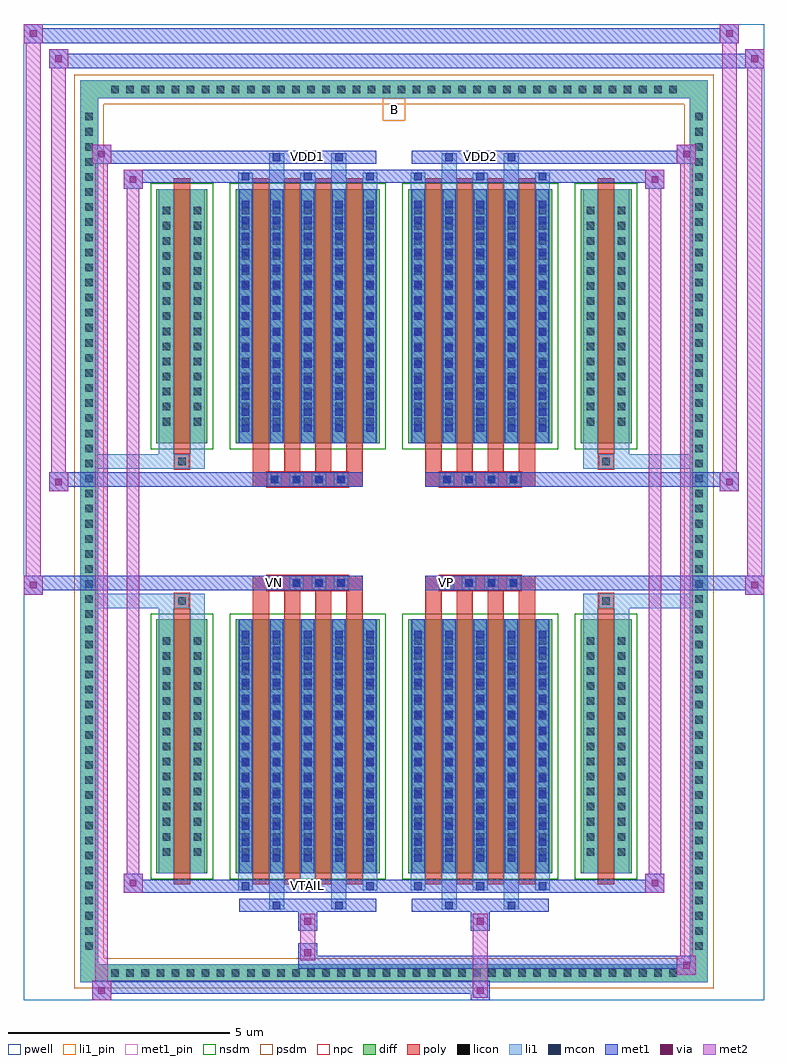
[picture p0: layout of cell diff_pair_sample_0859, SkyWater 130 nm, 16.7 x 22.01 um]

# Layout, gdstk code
import gdstk
lib = gdstk.Library(unit=1e-6, precision=5e-09)
def R(c, l, rs):  # rectangles x0, y0, x1, y1
    for r in rs: c.add(gdstk.rectangle(r[:2], r[2:], *l))
def A(c, l, x, y, w, h, nx, ny, dx, dy):  # array of equal rectangles
    R(c, l, [(x+i*dx, y+j*dy, x+i*dx+w, y+j*dy+h) for i in range(nx) for j in range(ny)])
def P(c, l, *ps):  # polygons
    for p in ps: c.add(gdstk.Polygon(p, *l))
pwell = (64, 44)
diff = (65, 20)
poly = (66, 20)
licon = (66, 44)
li1_pin = (67, 16)
li1 = (67, 20)
mcon = (67, 44)
met1_pin = (68, 16)
met1 = (68, 20)
via = (68, 44)
met2 = (69, 20)
nsdm = (93, 44)
psdm = (94, 20)
npc = (95, 20)

diff_pair_sample_0859 = lib.new_cell('diff_pair_sample_0859')
R(diff_pair_sample_0859, pwell, [(-8.35,-10.57,8.35,11.44), (-5.67,-8.76,-0.01,-0.8), (0.01,-8.76,5.67,-0.8), (-5.67,0.8,-0.01,8.76), (0.01,0.8,5.67,8.76)])
A(diff_pair_sample_0859, diff, -6.495, -10.17, 0.41, 0.41, 38, 2, 0.34, 19.93)
A(diff_pair_sample_0859, diff, -7.08, -9.555, 0.41, 0.41, 1, 56, 0, 0.34)
A(diff_pair_sample_0859, diff, 6.67, -9.555, 0.41, 0.41, 1, 56, 0, 0.34)
R(diff_pair_sample_0859, diff, [(-6.495,-10.17,6.495,-9.76), (-7.08,-9.555,-6.67,9.555), (6.67,-9.555,7.08,9.555), (-5.36,-7.715,-4.21,-1.985), (-3.57,-7.715,-0.32,-1.985), (0.32,-7.715,3.57,-1.985), (4.21,-7.715,5.36,-1.985), (-5.36,1.985,-4.21,7.715), (-3.57,1.985,-0.32,7.715), (0.32,1.985,3.57,7.715), (4.21,1.985,5.36,7.715), (-6.495,9.76,6.495,10.17)])
P(diff_pair_sample_0859, diff, [(7.08,10.17),(-7.08,10.17),(-7.08,-9.76),(-6.67,-9.76),(-6.67,9.76),(6.67,9.76),(6.67,-9.76),(-6.67,-9.76),(-7.08,-9.76),(-7.08,-10.17),(7.08,-10.17)])
A(diff_pair_sample_0859, poly, -3.18, -7.965, 0.37, 6.23, 4, 2, 0.7, 9.7)
A(diff_pair_sample_0859, poly, 0.71, -7.965, 0.37, 6.23, 4, 2, 0.7, 9.7)
A(diff_pair_sample_0859, poly, -3.18, -1.735, 0.37, 0.405, 4, 2, 0.7, 3.065)
A(diff_pair_sample_0859, poly, 0.71, -1.735, 0.37, 0.405, 4, 2, 0.7, 3.065)
A(diff_pair_sample_0859, poly, -2.86, -1.33, 0.33, 0.33, 4, 2, 0.5, 2.33)
A(diff_pair_sample_0859, poly, 1.03, -1.33, 0.33, 0.33, 4, 2, 0.5, 2.33)
R(diff_pair_sample_0859, poly, [(-4.97,-7.965,-4.6,-1.735), (4.6,-7.965,4.97,-1.735), (-4.95,-1.735,-4.62,-1.405), (-4.95,-1.735,-4.62,-1.405), (4.62,-1.735,4.95,-1.405), (4.62,-1.735,4.95,-1.405), (-3.18,-1.33,-0.71,-1), (0.71,-1.33,3.18,-1), (-3.18,1,-0.71,1.33), (0.71,1,3.18,1.33), (-4.95,1.405,-4.62,1.735), (-4.95,1.405,-4.62,1.735), (4.62,1.405,4.95,1.735), (4.62,1.405,4.95,1.735), (-4.97,1.735,-4.6,7.965), (4.6,1.735,4.97,7.965)])
A(diff_pair_sample_0859, licon, -6.375, -10.05, 0.17, 0.17, 38, 2, 0.34, 19.93)
A(diff_pair_sample_0859, licon, -6.96, -9.435, 0.17, 0.17, 1, 56, 0, 0.34)
A(diff_pair_sample_0859, licon, 6.79, -9.435, 0.17, 0.17, 1, 56, 0, 0.34)
A(diff_pair_sample_0859, licon, -5.22, -7.315, 0.17, 0.17, 1, 15, 0, 0.34)
A(diff_pair_sample_0859, licon, -4.52, -7.315, 0.17, 0.17, 1, 15, 0, 0.34)
A(diff_pair_sample_0859, licon, -3.43, -7.315, 0.17, 0.17, 5, 15, 0.7, 0.34)
A(diff_pair_sample_0859, licon, 0.46, -7.315, 0.17, 0.17, 5, 15, 0.7, 0.34)
A(diff_pair_sample_0859, licon, 4.35, -7.315, 0.17, 0.17, 1, 15, 0, 0.34)
A(diff_pair_sample_0859, licon, 5.05, -7.315, 0.17, 0.17, 1, 15, 0, 0.34)
A(diff_pair_sample_0859, licon, -2.78, -1.25, 0.17, 0.17, 4, 2, 0.5, 2.33)
A(diff_pair_sample_0859, licon, 1.11, -1.25, 0.17, 0.17, 4, 2, 0.5, 2.33)
A(diff_pair_sample_0859, licon, -5.22, 2.385, 0.17, 0.17, 1, 15, 0, 0.34)
A(diff_pair_sample_0859, licon, -4.52, 2.385, 0.17, 0.17, 1, 15, 0, 0.34)
A(diff_pair_sample_0859, licon, -3.43, 2.385, 0.17, 0.17, 5, 15, 0.7, 0.34)
A(diff_pair_sample_0859, licon, 0.46, 2.385, 0.17, 0.17, 5, 15, 0.7, 0.34)
A(diff_pair_sample_0859, licon, 4.35, 2.385, 0.17, 0.17, 1, 15, 0, 0.34)
A(diff_pair_sample_0859, licon, 5.05, 2.385, 0.17, 0.17, 1, 15, 0, 0.34)
R(diff_pair_sample_0859, licon, [(-4.87,-1.655,-4.7,-1.485), (4.7,-1.655,4.87,-1.485), (-4.87,1.485,-4.7,1.655), (4.7,1.485,4.87,1.655)])
R(diff_pair_sample_0859, li1_pin, [(-0.25,9.26,0.25,9.76)])
A(diff_pair_sample_0859, li1, -6.455, -10.13, 0.33, 0.33, 38, 2, 0.34, 19.93)
A(diff_pair_sample_0859, li1, -7.04, -9.515, 0.33, 0.33, 1, 56, 0, 0.34)
A(diff_pair_sample_0859, li1, 6.71, -9.515, 0.33, 0.33, 1, 56, 0, 0.34)
A(diff_pair_sample_0859, li1, -3.51, -8.09, 0.33, 0.375, 3, 2, 1.4, 15.805)
A(diff_pair_sample_0859, li1, -3.43, -8.09, 0.17, 0.17, 3, 2, 1.4, 16.01)
A(diff_pair_sample_0859, li1, 0.38, -8.09, 0.33, 0.375, 3, 2, 1.4, 15.805)
A(diff_pair_sample_0859, li1, 0.46, -8.09, 0.17, 0.17, 3, 2, 1.4, 16.01)
A(diff_pair_sample_0859, li1, -3.51, -7.715, 0.33, 5.73, 5, 2, 0.7, 9.7)
A(diff_pair_sample_0859, li1, 0.38, -7.715, 0.33, 5.73, 5, 2, 0.7, 9.7)
A(diff_pair_sample_0859, li1, -3.43, -7.455, 0.17, 0.17, 5, 15, 0.7, 0.36)
A(diff_pair_sample_0859, li1, -3.43, -7.455, 0.17, 5.21, 5, 2, 0.7, 9.7)
A(diff_pair_sample_0859, li1, 0.46, -7.455, 0.17, 0.17, 5, 15, 0.7, 0.36)
A(diff_pair_sample_0859, li1, 0.46, -7.455, 0.17, 5.21, 5, 2, 0.7, 9.7)
A(diff_pair_sample_0859, li1, -5.3, -7.395, 0.33, 0.33, 1, 15, 0, 0.34)
A(diff_pair_sample_0859, li1, -4.6, -7.395, 0.33, 0.33, 1, 15, 0, 0.34)
A(diff_pair_sample_0859, li1, -3.51, -7.395, 0.33, 0.33, 5, 15, 0.7, 0.34)
A(diff_pair_sample_0859, li1, 0.38, -7.395, 0.33, 0.33, 5, 15, 0.7, 0.34)
A(diff_pair_sample_0859, li1, 4.27, -7.395, 0.33, 0.33, 1, 15, 0, 0.34)
A(diff_pair_sample_0859, li1, 4.97, -7.395, 0.33, 0.33, 1, 15, 0, 0.34)
A(diff_pair_sample_0859, li1, -2.86, -1.33, 0.33, 0.33, 4, 2, 0.5, 2.33)
A(diff_pair_sample_0859, li1, 1.03, -1.33, 0.33, 0.33, 4, 2, 0.5, 2.33)
A(diff_pair_sample_0859, li1, -3.43, 2.245, 0.17, 0.17, 5, 15, 0.7, 0.36)
A(diff_pair_sample_0859, li1, 0.46, 2.245, 0.17, 0.17, 5, 15, 0.7, 0.36)
A(diff_pair_sample_0859, li1, -5.3, 2.305, 0.33, 0.33, 1, 15, 0, 0.34)
A(diff_pair_sample_0859, li1, -4.6, 2.305, 0.33, 0.33, 1, 15, 0, 0.34)
A(diff_pair_sample_0859, li1, -3.51, 2.305, 0.33, 0.33, 5, 15, 0.7, 0.34)
A(diff_pair_sample_0859, li1, 0.38, 2.305, 0.33, 0.33, 5, 15, 0.7, 0.34)
A(diff_pair_sample_0859, li1, 4.27, 2.305, 0.33, 0.33, 1, 15, 0, 0.34)
A(diff_pair_sample_0859, li1, 4.97, 2.305, 0.33, 0.33, 1, 15, 0, 0.34)
R(diff_pair_sample_0859, li1, [(-7.08,-10.17,-6.67,-9.76), (-7.08,-10.17,-6.67,-9.76), (-6.67,-10.17,6.67,-9.76), (6.67,-10.17,7.08,-9.76), (6.67,-10.17,7.08,-9.76), (-7.08,-9.76,-6.67,9.76), (6.67,-9.76,7.08,9.76), (-2.81,-8.52,-2.48,-7.715), (-2.73,-8.52,-2.56,-8.35), (-1.41,-8.52,-1.08,-7.715), (-1.33,-8.52,-1.16,-8.35), (1.08,-8.52,1.41,-7.715), (1.16,-8.52,1.33,-8.35), (2.48,-8.52,2.81,-7.715), (2.56,-8.52,2.73,-8.35), (-5.3,-7.715,-4.97,-1.985), (-4.6,-7.715,-4.27,-1.985), (4.27,-7.715,4.6,-1.985), (4.97,-7.715,5.3,-1.985), (-5.3,-1.985,-4.97,-1.405), (-4.6,-1.985,-4.27,-1.405), (4.27,-1.985,4.6,-1.405), (4.97,-1.985,5.3,-1.405), (-7.08,-1.735,-4.95,-1.405), (-5.3,-1.735,-4.95,-1.405), (-4.95,-1.735,-4.62,-1.405), (-4.62,-1.735,-4.27,-1.405), (4.27,-1.735,4.62,-1.405), (4.62,-1.735,4.95,-1.405), (4.62,-1.735,7.08,-1.405), (4.95,-1.735,5.3,-1.405), (-7.08,1.405,-4.95,1.735), (-5.3,1.405,-4.95,1.735), (-5.3,1.405,-4.97,1.985), (-4.95,1.405,-4.62,1.735), (-4.62,1.405,-4.27,1.735), (-4.6,1.405,-4.27,1.985), (4.27,1.405,4.62,1.735), (4.27,1.405,4.6,1.985), (4.62,1.405,4.95,1.735), (4.62,1.405,7.08,1.735), (4.95,1.405,5.3,1.735), (4.97,1.405,5.3,1.985), (-5.3,1.985,-4.97,7.715), (-4.6,1.985,-4.27,7.715), (4.27,1.985,4.6,7.715), (4.97,1.985,5.3,7.715), (-2.81,7.715,-2.48,8.52), (-1.41,7.715,-1.08,8.52), (1.08,7.715,1.41,8.52), (2.48,7.715,2.81,8.52), (-2.73,8.35,-2.56,8.52), (-1.33,8.35,-1.16,8.52), (1.16,8.35,1.33,8.52), (2.56,8.35,2.73,8.52), (-7.08,9.76,-6.67,10.17), (-7.08,9.76,-6.67,10.17), (-6.67,9.76,6.67,10.17), (6.67,9.76,7.08,10.17), (6.67,9.76,7.08,10.17)])
A(diff_pair_sample_0859, mcon, -3.43, -8.09, 0.17, 0.17, 3, 2, 1.4, 16.01)
A(diff_pair_sample_0859, mcon, 0.46, -8.09, 0.17, 0.17, 3, 2, 1.4, 16.01)
A(diff_pair_sample_0859, mcon, -3.43, -7.455, 0.17, 0.17, 5, 15, 0.7, 0.36)
A(diff_pair_sample_0859, mcon, 0.46, -7.455, 0.17, 0.17, 5, 15, 0.7, 0.36)
A(diff_pair_sample_0859, mcon, -2.78, -1.25, 0.17, 0.17, 4, 2, 0.5, 2.33)
A(diff_pair_sample_0859, mcon, 1.11, -1.25, 0.17, 0.17, 4, 2, 0.5, 2.33)
A(diff_pair_sample_0859, mcon, -3.43, 2.245, 0.17, 0.17, 5, 15, 0.7, 0.36)
A(diff_pair_sample_0859, mcon, 0.46, 2.245, 0.17, 0.17, 5, 15, 0.7, 0.36)
R(diff_pair_sample_0859, mcon, [(-2.73,-8.52,-2.56,-8.35), (-1.33,-8.52,-1.16,-8.35), (1.16,-8.52,1.33,-8.35), (2.56,-8.52,2.73,-8.35), (-2.73,8.35,-2.56,8.52), (-1.33,8.35,-1.16,8.52), (1.16,8.35,1.33,8.52), (2.56,8.35,2.73,8.52)])
R(diff_pair_sample_0859, met1_pin, [(-2.08,-8.13,-1.81,-7.86), (-2.83,-1.29,-2.56,-1.02), (1.06,-1.29,1.33,-1.02), (-2.08,8.31,-1.81,8.58), (1.81,8.31,2.08,8.58)])
A(diff_pair_sample_0859, met1, -3.49, -8.15, 0.29, 0.29, 3, 2, 1.4, 16.01)
A(diff_pair_sample_0859, met1, 0.4, -8.15, 0.29, 0.29, 3, 2, 1.4, 16.01)
A(diff_pair_sample_0859, met1, -3.49, -7.715, 0.29, 5.73, 5, 2, 0.7, 9.7)
A(diff_pair_sample_0859, met1, 0.4, -7.715, 0.29, 5.73, 5, 2, 0.7, 9.7)
A(diff_pair_sample_0859, met1, -3.49, -7.515, 0.29, 0.29, 5, 15, 0.7, 0.36)
A(diff_pair_sample_0859, met1, 0.4, -7.515, 0.29, 0.29, 5, 15, 0.7, 0.36)
A(diff_pair_sample_0859, met1, -2.84, -1.31, 0.29, 0.29, 4, 2, 0.5, 2.33)
A(diff_pair_sample_0859, met1, 1.05, -1.31, 0.29, 0.29, 4, 2, 0.5, 2.33)
A(diff_pair_sample_0859, met1, -3.49, 2.185, 0.29, 0.29, 5, 15, 0.7, 0.36)
A(diff_pair_sample_0859, met1, 0.4, 2.185, 0.29, 0.29, 5, 15, 0.7, 0.36)
R(diff_pair_sample_0859, met1, [(-6.81,-10.57,-6.38,-10.14), (1.73,-10.57,2.16,-10.14), (-6.81,-10.43,2.16,-10.14), (6.38,-10,6.81,-9.57), (-2.16,-9.86,6.81,-9.57), (-2.16,-9.72,-1.73,-9.29), (-2.16,-9.01,-1.73,-8.58), (1.73,-9.01,2.16,-8.58), (-3.49,-8.58,-0.4,-8.29), (-2.79,-8.58,-2.5,-8.29), (-1.39,-8.58,-1.1,-8.29), (0.4,-8.58,3.49,-8.29), (1.1,-8.58,1.39,-8.29), (2.5,-8.58,2.79,-8.29), (-6.1,-8.15,-5.67,-7.72), (-6.1,-8.15,-3.49,-7.86), (-3.49,-8.15,-0.4,-7.86), (-0.4,-8.15,0.4,-7.86), (0.4,-8.15,3.49,-7.86), (3.49,-8.15,6.1,-7.86), (5.67,-8.15,6.1,-7.72), (-8.35,-1.43,-7.92,-1), (7.92,-1.43,8.35,-1), (-8.35,-1.33,-0.71,-1), (-3.18,-1.33,-0.71,-1), (0.71,-1.33,3.18,-1), (0.71,-1.33,8.35,-1), (-7.78,0.9,-7.35,1.33), (7.35,0.9,7.78,1.33), (-7.78,1,-3.18,1.33), (-3.18,1,-0.71,1.33), (0.71,1,3.18,1.33), (3.18,1,7.78,1.33), (-6.1,7.72,-5.67,8.15), (5.67,7.72,6.1,8.15), (-6.1,7.86,-3.49,8.15), (-3.49,7.86,-0.4,8.15), (-0.4,7.86,0.4,8.15), (0.4,7.86,3.49,8.15), (3.49,7.86,6.1,8.15), (-6.81,8.29,-6.38,8.72), (-6.81,8.29,-3.49,8.58), (-3.49,8.29,-0.4,8.58), (-2.79,8.29,-2.5,8.58), (-1.39,8.29,-1.1,8.58), (0.4,8.29,3.49,8.58), (1.1,8.29,1.39,8.58), (2.5,8.29,2.79,8.58), (3.49,8.29,6.81,8.58), (6.38,8.29,6.81,8.72), (-7.78,10.44,-7.35,10.87), (-7.78,10.44,-5.67,10.77), (-5.67,10.44,5.67,10.77), (5.67,10.44,8.35,10.77), (7.92,10.44,8.35,10.87), (-8.35,11.01,-7.92,11.44), (-8.35,11.01,-5.67,11.34), (-5.67,11.01,5.67,11.34), (5.67,11.01,7.78,11.34), (7.35,11.01,7.78,11.44)])
R(diff_pair_sample_0859, via, [(-6.67,-10.43,-6.52,-10.28), (1.87,-10.43,2.02,-10.28), (6.52,-9.86,6.67,-9.71), (-2.02,-9.58,-1.87,-9.43), (-2.02,-8.87,-1.87,-8.72), (1.87,-8.87,2.02,-8.72), (-5.96,-8.01,-5.81,-7.86), (5.81,-8.01,5.96,-7.86), (-8.21,-1.29,-8.06,-1.14), (8.06,-1.29,8.21,-1.14), (-7.64,1.04,-7.49,1.19), (7.49,1.04,7.64,1.19), (-5.96,7.86,-5.81,8.01), (5.81,7.86,5.96,8.01), (-6.67,8.43,-6.52,8.58), (6.52,8.43,6.67,8.58), (-7.64,10.58,-7.49,10.73), (8.06,10.58,8.21,10.73), (-8.21,11.15,-8.06,11.3), (7.49,11.15,7.64,11.3)])
R(diff_pair_sample_0859, met2, [(-6.81,-10.57,-6.38,-10.14), (-6.74,-10.57,-6.45,8.72), (-6.45,-10.57,-6.38,-10.14), (-6.76,-10.52,-6.43,-10.19), (1.78,-10.52,2.11,-10.19), (1.78,-10.19,2.11,-8.96), (6.38,-10,6.81,-9.57), (6.45,-10,6.74,8.72), (6.74,-10,6.81,-9.57), (6.43,-9.95,6.76,-9.62), (-2.11,-9.67,-1.78,-9.34), (-2.11,-9.34,-1.78,-8.96), (-2.11,-8.96,-1.78,-8.63), (1.78,-8.96,2.11,-8.63), (-6.1,-8.15,-5.67,-7.72), (-6.03,-8.15,-5.74,8.15), (-5.74,-8.15,-5.67,-7.72), (5.67,-8.15,6.1,-7.72), (5.74,-8.15,6.03,8.15), (6.03,-8.15,6.1,-7.72), (-6.05,-8.1,-5.72,-7.77), (5.72,-8.1,6.05,-7.77), (-8.35,-1.43,-7.92,-1), (-8.3,-1.43,-7.97,11.44), (-7.97,-1.43,-7.92,-1), (7.92,-1.43,8.35,-1), (7.97,-1.43,8.3,10.87), (8.3,-1.43,8.35,-1), (-8.3,-1.38,-7.97,-1.05), (7.97,-1.38,8.3,-1.05), (-7.78,0.9,-7.35,1.33), (-7.73,0.9,-7.4,10.87), (-7.4,0.9,-7.35,1.33), (7.35,0.9,7.78,1.33), (7.4,0.9,7.73,11.44), (7.73,0.9,7.78,1.33), (-7.73,0.95,-7.4,1.28), (7.4,0.95,7.73,1.28), (-6.1,7.72,-5.67,8.15), (-5.74,7.72,-5.67,8.15), (5.67,7.72,6.1,8.15), (6.03,7.72,6.1,8.15), (-6.05,7.77,-5.72,8.1), (5.72,7.77,6.05,8.1), (-6.81,8.29,-6.38,8.72), (-6.45,8.29,-6.38,8.72), (6.38,8.29,6.81,8.72), (6.74,8.29,6.81,8.72), (-6.76,8.34,-6.43,8.67), (6.43,8.34,6.76,8.67), (-7.78,10.44,-7.35,10.87), (-7.4,10.44,-7.35,10.87), (7.92,10.44,8.35,10.87), (8.3,10.44,8.35,10.87), (-7.73,10.49,-7.4,10.82), (7.97,10.49,8.3,10.82), (-8.35,11.01,-7.92,11.44), (-7.97,11.01,-7.92,11.44), (7.35,11.01,7.78,11.44), (7.73,11.01,7.78,11.44), (-8.3,11.06,-7.97,11.39), (7.4,11.06,7.73,11.39)])
R(diff_pair_sample_0859, nsdm, [(-5.49,-7.845,-4.08,-1.855), (-3.7,-7.845,-0.19,-1.855), (0.19,-7.845,3.7,-1.855), (4.08,-7.845,5.49,-1.855), (-5.49,1.855,-4.08,7.845), (-3.7,1.855,-0.19,7.845), (0.19,1.855,3.7,7.845), (4.08,1.855,5.49,7.845)])
P(diff_pair_sample_0859, psdm, [(7.21,10.3),(-7.21,10.3),(-7.21,-9.63),(-6.54,-9.63),(-6.54,9.63),(6.54,9.63),(6.54,-9.63),(-6.54,-9.63),(-7.21,-9.63),(-7.21,-10.3),(7.21,-10.3)])
A(diff_pair_sample_0859, npc, -2.88, -1.35, 0.37, 0.37, 4, 2, 0.5, 2.33)
A(diff_pair_sample_0859, npc, 1.01, -1.35, 0.37, 0.37, 4, 2, 0.5, 2.33)
R(diff_pair_sample_0859, npc, [(-4.97,-1.755,-4.6,-1.385), (4.6,-1.755,4.97,-1.385), (-2.88,-1.35,-2.01,-0.98), (-2.88,-1.35,-2.01,-0.98), (-2.38,-1.35,-1.51,-0.98), (-2.38,-1.35,-1.51,-0.98), (-1.88,-1.35,-1.01,-0.98), (-1.88,-1.35,-1.01,-0.98), (1.01,-1.35,1.88,-0.98), (1.01,-1.35,1.88,-0.98), (1.51,-1.35,2.38,-0.98), (1.51,-1.35,2.38,-0.98), (2.01,-1.35,2.88,-0.98), (2.01,-1.35,2.88,-0.98), (-2.88,0.98,-2.01,1.35), (-2.88,0.98,-2.01,1.35), (-2.38,0.98,-1.51,1.35), (-2.38,0.98,-1.51,1.35), (-1.88,0.98,-1.01,1.35), (-1.88,0.98,-1.01,1.35), (1.01,0.98,1.88,1.35), (1.01,0.98,1.88,1.35), (1.51,0.98,2.38,1.35), (1.51,0.98,2.38,1.35), (2.01,0.98,2.88,1.35), (2.01,0.98,2.88,1.35), (-4.97,1.385,-4.6,1.755), (4.6,1.385,4.97,1.755)])
diff_pair_sample_0859.add(gdstk.Label('VTAIL', (-1.945,-7.995), layer=68, texttype=5))
diff_pair_sample_0859.add(gdstk.Label('VN', (-2.695,-1.155), layer=68, texttype=5))
diff_pair_sample_0859.add(gdstk.Label('VP', (1.195,-1.155), layer=68, texttype=5))
diff_pair_sample_0859.add(gdstk.Label('B', (0,9.51), layer=67, texttype=5))
diff_pair_sample_0859.add(gdstk.Label('VDD2', (1.945,8.445), layer=68, texttype=5))
diff_pair_sample_0859.add(gdstk.Label('VDD1', (-1.945,8.445), layer=68, texttype=5))

lib.write_gds('diff_pair_sample_0859.gds')
